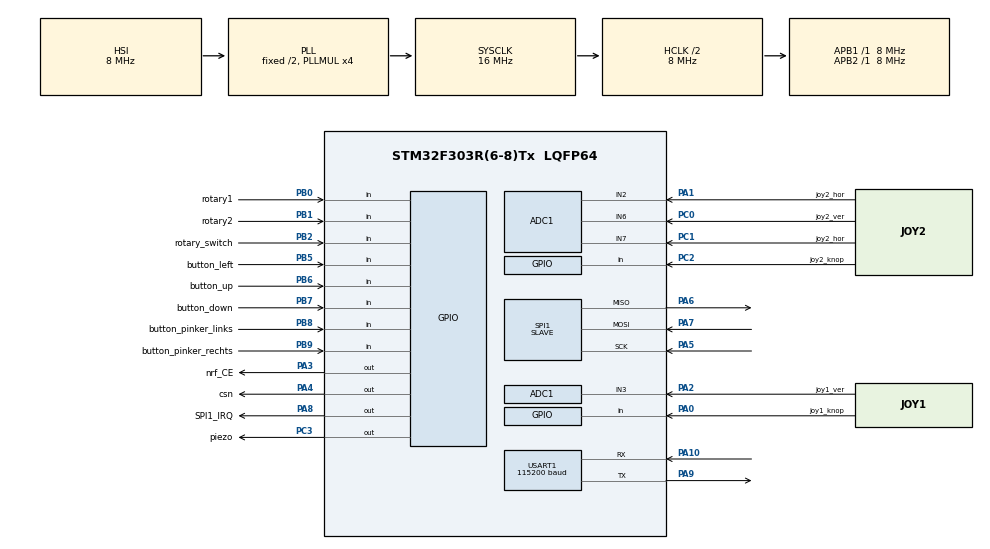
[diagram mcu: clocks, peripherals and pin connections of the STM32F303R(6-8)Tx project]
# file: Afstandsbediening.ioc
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ADC1.Channel-1\#ChannelRegularConversion=ADC_CHANNEL_2
ADC1.Channel-2\#ChannelRegularConversion=ADC_CHANNEL_3
ADC1.Channel-3\#ChannelRegularConversion=ADC_CHANNEL_6
ADC1.Channel-4\#ChannelRegularConversion=ADC_CHANNEL_7
ADC1.ClockPrescaler=ADC_CLOCK_SYNC_PCLK_DIV2
ADC1.ContinuousConvMode=ENABLE
ADC1.NbrOfConversion=4
ADC1.NbrOfConversionFlag=1
ADC1.Offset-1\#ChannelRegularConversion=0
ADC1.Offset-2\#ChannelRegularConversion=0
ADC1.Offset-3\#ChannelRegularConversion=0
ADC1.Offset-4\#ChannelRegularConversion=0
ADC1.OffsetNumber-1\#ChannelRegularConversion=ADC_OFFSET_NONE
ADC1.OffsetNumber-2\#ChannelRegularConversion=ADC_OFFSET_NONE
ADC1.OffsetNumber-3\#ChannelRegularConversion=ADC_OFFSET_NONE
ADC1.OffsetNumber-4\#ChannelRegularConversion=ADC_OFFSET_NONE
ADC1.Rank-1\#ChannelRegularConversion=1
ADC1.Rank-2\#ChannelRegularConversion=2
ADC1.Rank-3\#ChannelRegularConversion=3
ADC1.Rank-4\#ChannelRegularConversion=4
ADC1.SamplingTime-1\#ChannelRegularConversion=ADC_SAMPLETIME_1CYCLE_5
ADC1.SamplingTime-2\#ChannelRegularConversion=ADC_SAMPLETIME_1CYCLE_5
ADC1.SamplingTime-3\#ChannelRegularConversion=ADC_SAMPLETIME_1CYCLE_5
ADC1.SamplingTime-4\#ChannelRegularConversion=ADC_SAMPLETIME_1CYCLE_5
ADC1.SamplingTimeOPAMP-2\#ChannelRegularConversion=ADC_SAMPLETIME_2CYCLES_5
ADC1.SamplingTimeOPAMP-3\#ChannelRegularConversion=ADC_SAMPLETIME_2CYCLES_5
ADC1.SamplingTimeOPAMP-4\#ChannelRegularConversion=ADC_SAMPLETIME_2CYCLES_5
ADC1.SubFamily=STM32F303x8
ADC1.master=1
Dma.ADC1.0.Direction=DMA_PERIPH_TO_MEMORY
Dma.ADC1.0.Instance=DMA1_Channel1
Dma.ADC1.0.MemDataAlignment=DMA_MDATAALIGN_WORD
Dma.ADC1.0.MemInc=DMA_MINC_ENABLE
Dma.ADC1.0.Mode=DMA_CIRCULAR
Dma.ADC1.0.PeriphDataAlignment=DMA_PDATAALIGN_WORD
Dma.ADC1.0.PeriphInc=DMA_PINC_DISABLE
Dma.ADC1.0.Priority=DMA_PRIORITY_LOW
Dma.Request0=ADC1
Mcu.Family=STM32F3
Mcu.Name=STM32F303R(6-8)Tx
Mcu.Package=LQFP64
NVIC.DMA1_Channel1_IRQn=true\:0\:0\:false\:false\:true\:false\:true
NVIC.PriorityGroup=NVIC_PRIORITYGROUP_4
PA0.GPIO_Label=joy1_knop
PA0.GPIO_PuPd=GPIO_PULLUP
PA0.Signal=GPIO_Input
PA1.GPIO_Label=joy2_hor
PA1.Mode=IN2-Single-Ended
PA1.Signal=ADC1_IN2
PA10.Mode=Asynchronous
PA10.Signal=USART1_RX
PA13.Mode=Serial_Wire
PA13.Signal=SYS_JTMS-SWDIO
PA14.Mode=Serial_Wire
PA14.Signal=SYS_JTCK-SWCLK
PA2.GPIO_Label=joy1_ver
PA2.Mode=IN3-Single-Ended
PA2.Signal=ADC1_IN3
PA3.GPIO_Label=nrf_CE
PA3.Signal=GPIO_Output
PA4.GPIO_Label=csn
PA4.GPIO_PuPd=GPIO_PULLUP
PA4.Signal=GPIO_Output
PA5.Mode=Full_Duplex_Slave
PA5.Signal=SPI1_SCK
PA6.Mode=Full_Duplex_Slave
PA6.Signal=SPI1_MISO
PA7.Mode=Full_Duplex_Slave
PA7.Signal=SPI1_MOSI
PA8.GPIO_Label=SPI1_IRQ
PA8.Signal=GPIO_Output
PA9.Mode=Asynchronous
PA9.Signal=USART1_TX
PB0.GPIO_Label=rotary1
PB0.Signal=GPIO_Input
PB1.GPIO_Label=rotary2
PB1.Signal=GPIO_Input
PB2.GPIO_Label=rotary_switch
PB2.GPIO_PuPd=GPIO_PULLUP
PB2.Signal=GPIO_Input
PB5.GPIO_Label=button_left
PB5.GPIO_PuPd=GPIO_PULLUP
PB5.Signal=GPIO_Input
PB6.GPIO_Label=button_up
PB6.GPIO_PuPd=GPIO_PULLUP
PB6.Signal=GPIO_Input
PB7.GPIO_Label=button_down
PB7.GPIO_PuPd=GPIO_PULLUP
PB7.Signal=GPIO_Input
PB8.GPIO_Label=button_pinker_links
PB8.Signal=GPIO_Input
PB9.GPIO_Label=button_pinker_rechts
PB9.Signal=GPIO_Input
PC0.GPIO_Label=joy2_ver
PC0.Signal=ADCx_IN6
PC1.GPIO_Label=joy2_hor
PC1.Signal=ADCx_IN7
PC2.GPIO_Label=joy2_knop
PC2.GPIO_PuPd=GPIO_PULLUP
PC2.Signal=GPIO_Input
PC3.GPIO_Label=piezo
PC3.Signal=GPIO_Output
ProjectManager.HeapSize=0x200
ProjectManager.StackSize=0x400
ProjectManager.TargetToolchain=SW4STM32
RCC.AHBCLKDivider=RCC_SYSCLK_DIV2
RCC.AHBFreq_Value=8000000
RCC.APB1Freq_Value=8000000
RCC.APB1TimFreq_Value=8000000
RCC.APB2Freq_Value=8000000
RCC.APB2TimFreq_Value=8000000
RCC.CortexFreq_Value=8000000
RCC.HCLKFreq_Value=8000000
RCC.HSE_VALUE=8000000
RCC.HSI_VALUE=8000000
RCC.LSE_VALUE=32768
RCC.PLLMUL=RCC_PLL_MUL4
RCC.SYSCLKFreq_VALUE=16000000
RCC.SYSCLKSourceVirtual=RCC_SYSCLKSOURCE_PLLCLK
SH.ADCx_IN6.0=ADC1_IN6,IN6-Single-Ended
SH.ADCx_IN7.0=ADC1_IN7,IN7-Single-Ended
SPI1.DataSize=SPI_DATASIZE_8BIT
SPI1.Direction=SPI_DIRECTION_2LINES
SPI1.Mode=SPI_MODE_SLAVE
SPI1.VirtualType=VM_SLAVE
USART1.BaudRate=115200
USART1.VirtualMode-Asynchronous=VM_ASYNC
board=custom

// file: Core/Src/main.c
/* USER CODE BEGIN Header */
/**
  ******************************************************************************
  * @file           : main.c
  * @brief          : Main program body
  ******************************************************************************
  * @attention
  *
  * <h2><center>&copy; Copyright (c) 2021 STMicroelectronics.
  * All rights reserved.</center></h2>
  *
  * This software component is licensed by ST under BSD 3-Clause license,
  * the "License"; You may not use this file except in compliance with the
  * License. You may obtain a copy of the License at:
  *                        opensource.org/licenses/BSD-3-Clause
  *
  ******************************************************************************
  */
/* USER CODE END Header */
#include "main.h"

/* USER CODE BEGIN Includes */
#include <stdio.h>
#include <errno.h>
#include <sys/stat.h>
#include <sys/times.h>
#include <sys/unistd.h>

#include <stdbool.h>
/* USER CODE END Includes */

ADC_HandleTypeDef hadc1;
DMA_HandleTypeDef hdma_adc1;

SPI_HandleTypeDef hspi1;

UART_HandleTypeDef huart1;

/* USER CODE BEGIN PV */

// NRF commando's
const uint8_t R_REGISTER = 0b00000000;
const uint8_t W_REGISTER = 0b00100000;
const uint8_t R_RX_PAYLOAD = 0b01100001;
const uint8_t W_TXPAYLOAD = 0b10100000;
const uint8_t FLUSH_TX = 0b11100001;
const uint8_t FLUSH_RX = 0b11100010;
const uint8_t REUSE_TX_PL = 0b11100011;
const uint8_t R_RX_PL_WID = 0b01100000;
const uint8_t W_ACK_PAYLOAD = 0b10101000;
const uint8_t W_TX_PAYLOAD_NOACK = 0b10110000;
const uint8_t NOP = 0b11111111;

// NRF registers
const uint8_t CONFIG = 0x00;
const uint8_t EN_AA = 0x01;
const uint8_t EN_RXADDR = 0x02;
const uint8_t SETUP_AW = 0x03;
const uint8_t SETUP_RETR = 0x04;
const uint8_t RF_CH = 0x05;
const uint8_t RF_SETUP = 0x06;
const uint8_t STATUS = 0x07;
const uint8_t OBSERVE_TX = 0x08;
const uint8_t RPD = 0x09;
const uint8_t RX_ADDR_P0 = 0x0A;
const uint8_t RX_ADDR_P1 = 0x0B;
const uint8_t RX_ADDR_P2 = 0x0C;
const uint8_t RX_ADDR_P3 = 0x0D;
const uint8_t RX_ADDR_P4 = 0x0E;
const uint8_t RX_ADDR_P5 = 0x0F;
const uint8_t TX_ADDR = 0x10;
const uint8_t RX_PW_P0 = 0x11;
const uint8_t RX_PW_P1 = 0x12;
const uint8_t RW_PW_P1 = 0x13;
const uint8_t RX_PW_P3 = 0x14;
const uint8_t RX_PW_P4 = 0x15;
const uint8_t RX_PW_P5 = 0x16;
const uint8_t FIFO_STATUS = 0x17;
const uint8_t DYNPD = 0x1C;
const uint8_t FEATURE = 0x1D;

const uint16_t ADC_MIN = 0;
const uint16_t ADC_MAX = 4090;

uint32_t adc_results[4];
uint8_t count = 0;

struct CalValADC {
	uint16_t Joy1_UpDown;
	uint16_t Joy2_UpDown;
	uint16_t Joy2_LeftRight;
} defaultAdc;

struct IOs {
	bool Left_Button;
	bool Up_Button;
	bool Down_Button;
	bool Rotary_Button;
	bool Joy2_Button;
	bool FrontLeft_Button;
	bool FrontRight_Button;
	uint8_t Joy1_UpDown;
	uint8_t Joy2_UpDown;
	uint8_t Joy2_LeftRight;
} Status_IO;

/* USER CODE END PV */

void SystemClock_Config(void);
static void MX_GPIO_Init(void);
static void MX_DMA_Init(void);
static void MX_ADC1_Init(void);
static void MX_SPI1_Init(void);
static void MX_USART1_UART_Init(void);
/* USER CODE BEGIN PFP */

void Write8_Register_NRF(uint8_t, uint8_t);
uint8_t Read8_Register_NRF(uint8_t);
void CSN_Select(void);
void CSN_Deselect(void);
void Send_Data(uint8_t*);
void NRF_Setup(void);
void WriteX_Register_NRF(uint8_t, uint8_t*, uint8_t);
void Read_Buttons(void);
void Calibrate_ADC(void);
void Print_IO(void);
uint8_t Regulate_ADC_UpDown(uint32_t, uint16_t);
uint8_t Regulate_ADC_LeftRight(uint32_t, uint16_t);

/* USER CODE END PFP */

/* USER CODE BEGIN 0 */
int _write(int file, char *ptr, int len) {
    HAL_StatusTypeDef xStatus;
    switch (file) {
    case STDOUT_FILENO: /*stdout*/
		xStatus = HAL_UART_Transmit(&huart1, (uint8_t*)ptr, len, HAL_MAX_DELAY);
		if (xStatus != HAL_OK) {
			errno = EIO;
			return -1;
		}
        break;
    case STDERR_FILENO: /* stderr */
		xStatus = HAL_UART_Transmit(&huart1, (uint8_t*)ptr, len, HAL_MAX_DELAY);
		if (xStatus != HAL_OK) {
			errno = EIO;
			return -1;
		}
        break;
    default:
        errno = EBADF;
        return -1;
    }
    return len;
}

char uart_buf[50];
int uart_buf_len;
/* USER CODE END 0 */

int main(void)
{

  /* MCU Configuration--------------------------------------------------------*/

  /* Reset of all peripherals, Initializes the Flash interface and the Systick. */
  HAL_Init();

  /* Configure the system clock */
  SystemClock_Config();

  /* Initialize all configured peripherals */
  MX_GPIO_Init();
  MX_DMA_Init();
  MX_ADC1_Init();
  MX_SPI1_Init();
  MX_USART1_UART_Init();
  /* USER CODE BEGIN 2 */

  //calbrate de ADC
  HAL_ADCEx_Calibration_Start(&hadc1, ADC_SINGLE_ENDED);
  HAL_ADC_Start_DMA(&hadc1, adc_results, 4);

  //NRF_Setup();
  HAL_Delay(300);
  Calibrate_ADC();
  //printf("started up \r\n");
  /* USER CODE END 2 */

  /* Infinite loop */
  /* USER CODE BEGIN WHILE */
  while (1)
  {
	  //printf("\r\nWhile afstandsbediening %02X\r\n", count++);

	  Read_Buttons();
	  //Print_IO();

	  uint8_t startSequence[3] = {0x42, 0x42, 0x42}; //BBB

	  HAL_UART_Transmit(&huart1, &startSequence, 3, 100);
	  HAL_UART_Transmit(&huart1, &Status_IO, 10, 1000);

	  //HAL_UART_Transmit(&huart1, &stopByte, 1, 100);

	  HAL_Delay(400);

	  /*uint8_t string[32] = "test";
	  printf("Data:%s\r\n", string);
	  	  for (uint8_t i =0; i<32; i++) {
	  		  printf("%02X ", string[i]);
	  	  } printf("\r\n");
	  Send_Data(string);*/

	  //printf("ADC: %lu R-BO:%lu L-BO:%lu L-RL:%lu\r\n", adc_results[0], adc_results[1], adc_results[2], adc_results[3]);

    /* USER CODE END WHILE */

  }
}

void SystemClock_Config(void)
{
  RCC_OscInitTypeDef RCC_OscInitStruct = {0};
  RCC_ClkInitTypeDef RCC_ClkInitStruct = {0};
  RCC_PeriphCLKInitTypeDef PeriphClkInit = {0};

  /** Initializes the RCC Oscillators according to the specified parameters
  * in the RCC_OscInitTypeDef structure.
  */
  RCC_OscInitStruct.OscillatorType = RCC_OSCILLATORTYPE_HSI;
  RCC_OscInitStruct.HSIState = RCC_HSI_ON;
  RCC_OscInitStruct.HSICalibrationValue = RCC_HSICALIBRATION_DEFAULT;
  RCC_OscInitStruct.PLL.PLLState = RCC_PLL_ON;
  RCC_OscInitStruct.PLL.PLLSource = RCC_PLLSOURCE_HSI;
  RCC_OscInitStruct.PLL.PLLMUL = RCC_PLL_MUL4;
  if (HAL_RCC_OscConfig(&RCC_OscInitStruct) != HAL_OK)
  {
    Error_Handler();
  }
  /** Initializes the CPU, AHB and APB buses clocks
  */
  RCC_ClkInitStruct.ClockType = RCC_CLOCKTYPE_HCLK|RCC_CLOCKTYPE_SYSCLK
                              |RCC_CLOCKTYPE_PCLK1|RCC_CLOCKTYPE_PCLK2;
  RCC_ClkInitStruct.SYSCLKSource = RCC_SYSCLKSOURCE_PLLCLK;
  RCC_ClkInitStruct.AHBCLKDivider = RCC_SYSCLK_DIV2;
  RCC_ClkInitStruct.APB1CLKDivider = RCC_HCLK_DIV1;
  RCC_ClkInitStruct.APB2CLKDivider = RCC_HCLK_DIV1;

  if (HAL_RCC_ClockConfig(&RCC_ClkInitStruct, FLASH_LATENCY_0) != HAL_OK)
  {
    Error_Handler();
  }
  PeriphClkInit.PeriphClockSelection = RCC_PERIPHCLK_USART1;
  PeriphClkInit.Usart1ClockSelection = RCC_USART1CLKSOURCE_PCLK1;
  if (HAL_RCCEx_PeriphCLKConfig(&PeriphClkInit) != HAL_OK)
  {
    Error_Handler();
  }
}

static void MX_ADC1_Init(void)
{

  ADC_MultiModeTypeDef multimode = {0};
  ADC_ChannelConfTypeDef sConfig = {0};

  /** Common config
  */
  hadc1.Instance = ADC1;
  hadc1.Init.ClockPrescaler = ADC_CLOCK_SYNC_PCLK_DIV2;
  hadc1.Init.Resolution = ADC_RESOLUTION_12B;
  hadc1.Init.ScanConvMode = ADC_SCAN_ENABLE;
  hadc1.Init.ContinuousConvMode = ENABLE;
  hadc1.Init.DiscontinuousConvMode = DISABLE;
  hadc1.Init.ExternalTrigConvEdge = ADC_EXTERNALTRIGCONVEDGE_NONE;
  hadc1.Init.ExternalTrigConv = ADC_SOFTWARE_START;
  hadc1.Init.DataAlign = ADC_DATAALIGN_RIGHT;
  hadc1.Init.NbrOfConversion = 4;
  hadc1.Init.DMAContinuousRequests = DISABLE;
  hadc1.Init.EOCSelection = ADC_EOC_SINGLE_CONV;
  hadc1.Init.LowPowerAutoWait = DISABLE;
  hadc1.Init.Overrun = ADC_OVR_DATA_OVERWRITTEN;
  if (HAL_ADC_Init(&hadc1) != HAL_OK)
  {
    Error_Handler();
  }
  /** Configure the ADC multi-mode
  */
  multimode.Mode = ADC_MODE_INDEPENDENT;
  if (HAL_ADCEx_MultiModeConfigChannel(&hadc1, &multimode) != HAL_OK)
  {
    Error_Handler();
  }
  /** Configure Regular Channel
  */
  sConfig.Channel = ADC_CHANNEL_2;
  sConfig.Rank = ADC_REGULAR_RANK_1;
  sConfig.SingleDiff = ADC_SINGLE_ENDED;
  sConfig.SamplingTime = ADC_SAMPLETIME_1CYCLE_5;
  sConfig.OffsetNumber = ADC_OFFSET_NONE;
  sConfig.Offset = 0;
  if (HAL_ADC_ConfigChannel(&hadc1, &sConfig) != HAL_OK)
  {
    Error_Handler();
  }
  /** Configure Regular Channel
  */
  sConfig.Channel = ADC_CHANNEL_3;
  sConfig.Rank = ADC_REGULAR_RANK_2;
  if (HAL_ADC_ConfigChannel(&hadc1, &sConfig) != HAL_OK)
  {
    Error_Handler();
  }
  /** Configure Regular Channel
  */
  sConfig.Channel = ADC_CHANNEL_6;
  sConfig.Rank = ADC_REGULAR_RANK_3;
  if (HAL_ADC_ConfigChannel(&hadc1, &sConfig) != HAL_OK)
  {
    Error_Handler();
  }
  /** Configure Regular Channel
  */
  sConfig.Channel = ADC_CHANNEL_7;
  sConfig.Rank = ADC_REGULAR_RANK_4;
  if (HAL_ADC_ConfigChannel(&hadc1, &sConfig) != HAL_OK)
  {
    Error_Handler();
  }

}

static void MX_SPI1_Init(void)
{

  /* SPI1 parameter configuration*/
  hspi1.Instance = SPI1;
  hspi1.Init.Mode = SPI_MODE_SLAVE;
  hspi1.Init.Direction = SPI_DIRECTION_2LINES;
  hspi1.Init.DataSize = SPI_DATASIZE_8BIT;
  hspi1.Init.CLKPolarity = SPI_POLARITY_LOW;
  hspi1.Init.CLKPhase = SPI_PHASE_1EDGE;
  hspi1.Init.NSS = SPI_NSS_SOFT;
  hspi1.Init.FirstBit = SPI_FIRSTBIT_MSB;
  hspi1.Init.TIMode = SPI_TIMODE_DISABLE;
  hspi1.Init.CRCCalculation = SPI_CRCCALCULATION_DISABLE;
  hspi1.Init.CRCPolynomial = 7;
  hspi1.Init.CRCLength = SPI_CRC_LENGTH_DATASIZE;
  hspi1.Init.NSSPMode = SPI_NSS_PULSE_DISABLE;
  if (HAL_SPI_Init(&hspi1) != HAL_OK)
  {
    Error_Handler();
  }

}

static void MX_USART1_UART_Init(void)
{

  huart1.Instance = USART1;
  huart1.Init.BaudRate = 115200;
  huart1.Init.WordLength = UART_WORDLENGTH_8B;
  huart1.Init.StopBits = UART_STOPBITS_1;
  huart1.Init.Parity = UART_PARITY_NONE;
  huart1.Init.Mode = UART_MODE_TX_RX;
  huart1.Init.HwFlowCtl = UART_HWCONTROL_NONE;
  huart1.Init.OverSampling = UART_OVERSAMPLING_16;
  huart1.Init.OneBitSampling = UART_ONE_BIT_SAMPLE_DISABLE;
  huart1.AdvancedInit.AdvFeatureInit = UART_ADVFEATURE_NO_INIT;
  if (HAL_UART_Init(&huart1) != HAL_OK)
  {
    Error_Handler();
  }

}

static void MX_DMA_Init(void)
{

  /* DMA controller clock enable */
  __HAL_RCC_DMA1_CLK_ENABLE();

  /* DMA interrupt init */
  /* DMA1_Channel1_IRQn interrupt configuration */
  HAL_NVIC_SetPriority(DMA1_Channel1_IRQn, 0, 0);
  HAL_NVIC_EnableIRQ(DMA1_Channel1_IRQn);

}

static void MX_GPIO_Init(void)
{
  GPIO_InitTypeDef GPIO_InitStruct = {0};

  /* GPIO Ports Clock Enable */
  __HAL_RCC_GPIOC_CLK_ENABLE();
  __HAL_RCC_GPIOA_CLK_ENABLE();
  __HAL_RCC_GPIOB_CLK_ENABLE();

  /*Configure GPIO pin Output Level */
  HAL_GPIO_WritePin(piezo_GPIO_Port, piezo_Pin, GPIO_PIN_RESET);

  /*Configure GPIO pin Output Level */
  HAL_GPIO_WritePin(GPIOA, nrf_CE_Pin|csn_Pin|SPI1_IRQ_Pin, GPIO_PIN_RESET);

  /*Configure GPIO pin : joy2_knop_Pin */
  GPIO_InitStruct.Pin = joy2_knop_Pin;
  GPIO_InitStruct.Mode = GPIO_MODE_INPUT;
  GPIO_InitStruct.Pull = GPIO_PULLUP;
  HAL_GPIO_Init(joy2_knop_GPIO_Port, &GPIO_InitStruct);

  /*Configure GPIO pin : piezo_Pin */
  GPIO_InitStruct.Pin = piezo_Pin;
  GPIO_InitStruct.Mode = GPIO_MODE_OUTPUT_PP;
  GPIO_InitStruct.Pull = GPIO_NOPULL;
  GPIO_InitStruct.Speed = GPIO_SPEED_FREQ_LOW;
  HAL_GPIO_Init(piezo_GPIO_Port, &GPIO_InitStruct);

  /*Configure GPIO pin : joy1_knop_Pin */
  GPIO_InitStruct.Pin = joy1_knop_Pin;
  GPIO_InitStruct.Mode = GPIO_MODE_INPUT;
  GPIO_InitStruct.Pull = GPIO_PULLUP;
  HAL_GPIO_Init(joy1_knop_GPIO_Port, &GPIO_InitStruct);

  /*Configure GPIO pins : nrf_CE_Pin SPI1_IRQ_Pin */
  GPIO_InitStruct.Pin = nrf_CE_Pin|SPI1_IRQ_Pin;
  GPIO_InitStruct.Mode = GPIO_MODE_OUTPUT_PP;
  GPIO_InitStruct.Pull = GPIO_NOPULL;
  GPIO_InitStruct.Speed = GPIO_SPEED_FREQ_LOW;
  HAL_GPIO_Init(GPIOA, &GPIO_InitStruct);

  /*Configure GPIO pin : csn_Pin */
  GPIO_InitStruct.Pin = csn_Pin;
  GPIO_InitStruct.Mode = GPIO_MODE_OUTPUT_PP;
  GPIO_InitStruct.Pull = GPIO_PULLUP;
  GPIO_InitStruct.Speed = GPIO_SPEED_FREQ_LOW;
  HAL_GPIO_Init(csn_GPIO_Port, &GPIO_InitStruct);

  /*Configure GPIO pins : rotary1_Pin rotary2_Pin button_pinker_links_Pin button_pinker_rechts_Pin */
  GPIO_InitStruct.Pin = rotary1_Pin|rotary2_Pin|button_pinker_links_Pin|button_pinker_rechts_Pin;
  GPIO_InitStruct.Mode = GPIO_MODE_INPUT;
  GPIO_InitStruct.Pull = GPIO_NOPULL;
  HAL_GPIO_Init(GPIOB, &GPIO_InitStruct);

  /*Configure GPIO pins : rotary_switch_Pin button_left_Pin button_up_Pin button_down_Pin */
  GPIO_InitStruct.Pin = rotary_switch_Pin|button_left_Pin|button_up_Pin|button_down_Pin;
  GPIO_InitStruct.Mode = GPIO_MODE_INPUT;
  GPIO_InitStruct.Pull = GPIO_PULLUP;
  HAL_GPIO_Init(GPIOB, &GPIO_InitStruct);

}

/* USER CODE BEGIN 4 */

void Calibrate_ADC() {
	defaultAdc.Joy1_UpDown = adc_results[1];
	defaultAdc.Joy2_UpDown = adc_results[2];
	defaultAdc.Joy2_LeftRight = adc_results[3];
}

//waardes naar een schaal van 0-255 omrekenen
uint8_t Regulate_ADC_UpDown(uint32_t value, uint16_t defaultt) {
	uint32_t result;
	if (value > defaultt) {
		result = 0;
	} else {
		result = (defaultt-value)*255/(defaultt-ADC_MIN);
	}

	return (uint8_t)result;
}

uint8_t Regulate_ADC_LeftRight(uint32_t value, uint16_t defaultt) {
	uint16_t result;
	if (value < defaultt) { //links
		result = 128-(defaultt-value)*127/(defaultt-ADC_MIN);
	} else { //rechts
		result = (value-defaultt)*127/(ADC_MAX-defaultt)+128;
	}
	return (uint8_t)result;
}

void Read_Buttons() {

	HAL_ADC_Start_DMA(&hadc1, adc_results, 4);

	Status_IO.Left_Button = !HAL_GPIO_ReadPin(button_left_GPIO_Port, button_left_Pin);
	Status_IO.Up_Button = !HAL_GPIO_ReadPin(button_up_GPIO_Port, button_up_Pin);
	Status_IO.Down_Button = ! HAL_GPIO_ReadPin(button_down_GPIO_Port, button_down_Pin);
	Status_IO.Rotary_Button = !HAL_GPIO_ReadPin(rotary_switch_GPIO_Port, rotary_switch_Pin);
	Status_IO.Joy2_Button = !HAL_GPIO_ReadPin(joy2_knop_GPIO_Port, joy2_knop_Pin);

	Status_IO.Joy1_UpDown = Regulate_ADC_UpDown(adc_results[1], defaultAdc.Joy1_UpDown);
	//printf("%u %u \r\n", adc_results[1], defaultAdc.Joy1_UpDown);
	Status_IO.Joy2_UpDown = Regulate_ADC_UpDown(adc_results[2], defaultAdc.Joy2_UpDown);
	//printf("%u %u \r\n", adc_results[2], defaultAdc.Joy2_UpDown);
	Status_IO.Joy2_LeftRight = Regulate_ADC_LeftRight(adc_results[3], defaultAdc.Joy2_LeftRight);
}

void Print_IO() {
	printf("IO status:\r\n");
	printf("Buttons: LB=%d, UB=%d, DB=%d, RB=%d, J2B=%d\r\n",
			Status_IO.Left_Button,
			Status_IO.Up_Button,
			Status_IO.Down_Button,
			Status_IO.Rotary_Button,
			Status_IO.Joy2_Button);

	printf("ADC: 1-UD=%u, 2-UD=%u, 2-LR=%u\r\n",
			Status_IO.Joy1_UpDown,
			Status_IO.Joy2_UpDown,
			Status_IO.Joy2_LeftRight);
}

uint8_t Read8_Register_NRF(uint8_t reg) {
	uint8_t data = 0;

	CSN_Select();
	HAL_SPI_Transmit(&hspi1, &reg, 1, 100);
	while(HAL_SPI_GetState(&hspi1) != HAL_SPI_STATE_READY);
	HAL_SPI_Receive(&hspi1, &data, 1, 100);
	CSN_Deselect();

	printf("Receive %02X: %02X\r\n", reg, data);
	return data;
}

void Write8_Register_NRF(uint8_t reg, uint8_t data) {
	uint8_t buf[2];

	buf[0] = reg|W_REGISTER;
	buf[1] = data;

	CSN_Select();
	HAL_SPI_Transmit(&hspi1, buf, 2, 1000);
	CSN_Deselect();
}

void WriteX_Register_NRF(uint8_t reg, uint8_t *data, uint8_t size) {
	CSN_Select();

	uint8_t cmd = reg|W_REGISTER;
	HAL_SPI_Transmit(&hspi1, &cmd, 1, 100);
	HAL_SPI_Transmit(&hspi1, data, size, 1000);
	CSN_Deselect();
}

uint8_t* ReadX_Register_NRF(uint8_t reg, uint8_t size) {
	uint8_t data[32] = {0};

	CSN_Select();
	HAL_SPI_Transmit(&hspi1, &reg, 1, 100);
	HAL_SPI_Receive(&hspi1, data, size, 1000);
	CSN_Deselect();

	for (uint8_t i = 0; i<size; i++) {
		printf("%02X ", i);
	}
	printf("\r\n");
	return 0;
}

void Send_Cmd(uint8_t cmd) {
	CSN_Select();
	HAL_SPI_Transmit(&hspi1, &cmd, 1, 100);
	CSN_Deselect();
}

void Send_Data(uint8_t *data) {

	uint8_t cmd = W_TXPAYLOAD;

	uint8_t payload[33] = {0};
	payload[0] = cmd;
	for (uint8_t i = 1; i<=32; i++) {
		payload[i] = data[i-1];
	}

	CSN_Select();
	HAL_SPI_Transmit(&hspi1, &cmd, 1, 100);
	/*for (uint8_t i = 0; i<32; i++) {
		HAL_SPI_Transmit(&hspi1, &data[i], 1, 100);
	}*/
	//HAL_SPI_Transmit(&hspi1, data, 32, 3201);
	//HAL_SPI_Transmit(&hspi1, payload, 33, 1000);
	CSN_Deselect();

	printf("observe tx ");
	Read8_Register_NRF(OBSERVE_TX);

	printf("Status: ");
	Read8_Register_NRF(STATUS);

	uint8_t fifostatus = Read8_Register_NRF(FIFO_STATUS);
	// check the fourth bit of FIFO_STATUS to know if the TX fifo is empty
	if ((fifostatus&(1<<4)) && (!(fifostatus&(1<<3))))
		{
			printf("Fifo full\r\n");
			cmd = FLUSH_TX;
			Send_Cmd(cmd);
		} else {
			//printf("empty\r\n");
		}
}

void NRF_Setup() {
	printf("\r\nBegin setup NRF\r\n");
	CSN_Deselect();
	HAL_GPIO_WritePin(nrf_CE_GPIO_Port, nrf_CE_Pin, GPIO_PIN_RESET);

	printf("CONFIG: ");
	Write8_Register_NRF(CONFIG, 0b00001010); //power up bit
	Read8_Register_NRF(CONFIG);
	HAL_Delay(10);

	printf("SETUP_AW: ");
	Write8_Register_NRF(SETUP_AW, 0x03);
	Read8_Register_NRF(SETUP_AW);
	HAL_Delay(10);

	printf("RF_CH: ");
	Write8_Register_NRF(RF_CH, 15); //zet channel naar 15
	Read8_Register_NRF(RF_CH);
	HAL_Delay(10);

	printf("RF_SETUP: ");
	Write8_Register_NRF(RF_SETUP, 0x0E);  //set RF_DR_LOW (250kbit) in RF_SETUP 0b00101110
	Read8_Register_NRF(RF_SETUP);
	HAL_Delay(10);

	Write8_Register_NRF(EN_AA, 1);
	Write8_Register_NRF(SETUP_RETR, 0x03);
	HAL_Delay(10);

	uint8_t addr[5] = {0, 1, 2, 3, 4};
	printf("TX_ADDR: ");
	WriteX_Register_NRF(TX_ADDR, addr, 5);
	ReadX_Register_NRF(TX_ADDR, 5);
	HAL_Delay(10);

	printf("RX_ADDR: ");
	WriteX_Register_NRF(RX_ADDR_P0, addr, 5);
	ReadX_Register_NRF(RX_ADDR_P0, 5);
	HAL_Delay(10);

	//set nrf ce voor in TX modus te gaan
	HAL_GPIO_WritePin(nrf_CE_GPIO_Port, nrf_CE_Pin, GPIO_PIN_SET);
}

void CSN_Select() {
	HAL_GPIO_WritePin(csn_GPIO_Port, csn_Pin, GPIO_PIN_RESET);
}

void CSN_Deselect() {
	HAL_GPIO_WritePin(csn_GPIO_Port, csn_Pin, GPIO_PIN_SET);
}
/* USER CODE END 4 */

void Error_Handler(void)
{
  __disable_irq();
  while (1)
  {
  }
}

/************************ (C) COPYRIGHT STMicroelectronics *****END OF FILE****/
